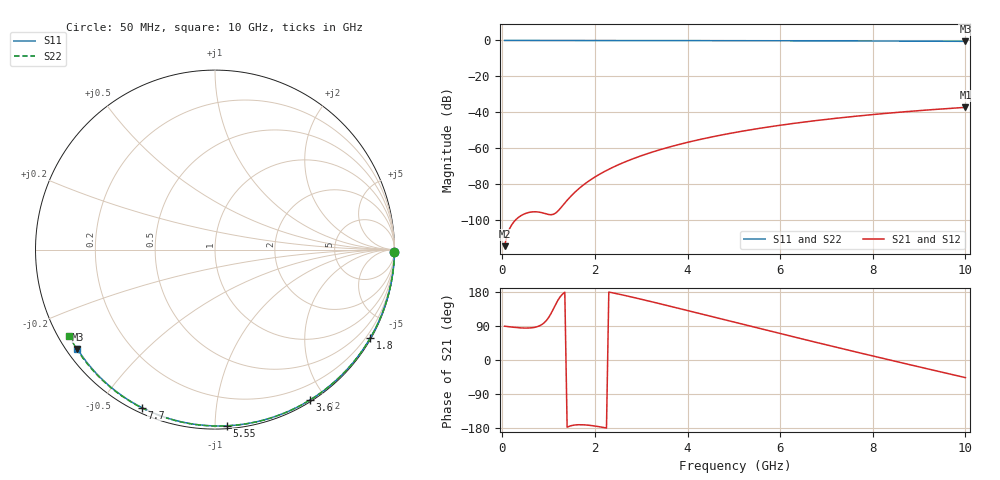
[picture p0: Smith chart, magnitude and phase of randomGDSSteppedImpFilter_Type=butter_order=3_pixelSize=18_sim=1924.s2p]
! freq	dB(S11)	phase(S11)	dB(S12)	phase(S12)
!  dB(S21)	phase(S21)	dB(S22)	phase(S22)
!S-par simulation data
#  GHz  S  DB  R 50
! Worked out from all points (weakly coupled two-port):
!   200 points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, 50 MHz to 10 GHz, reference 50 ohm
!   highest |S21| = -37.38 dB at 10 GHz (marker M1); lowest = -114.9 dB at 50 MHz (marker M2)
!   lowest |S11| = -0.5 dB at 10 GHz (marker M3), VSWR 35.56, Z = 1.55 - j16.1 ohm
!   |S11| at or under -10 dB: nowhere
!   |S22| runs from -0.5 to 0.0 dB; largest |S21 - S12| = 0
!   S11 on the Smith chart (normalised r, x): 50 MHz: open; 1.8 GHz: 0.03, -3.78; 3.6 GHz: 0.02, -1.81; 5.55 GHz: 0.02, -1.07; 7.7 GHz: 0.02, -0.64; 10 GHz: 0.03, -0.32
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0.05  -0.00 -0.8  -114.90 89.2  -114.90 89.2  -0.00 -0.9
0.45  -0.01 -7.5  -97.20 84.4  -97.20 84.4  -0.01 -7.8
0.9  -0.02 -15.0  -96.50 97.7  -96.50 97.7  -0.02 -15.5
1.3  -0.03 -21.5  -92.34 173.7  -92.34 173.7  -0.03 -22.3
1.75  -0.04 -28.8  -80.73 -171.0  -80.73 -171.0  -0.04 -29.9
1.8  -0.04 -29.7  -79.75 -171.4  -79.75 -171.4  -0.04 -30.7
1.95  -0.04 -32.1  -77.08 -173.4  -77.08 -173.4  -0.04 -33.2
2.1  -0.04 -34.5  -74.73 -176.2  -74.73 -176.2  -0.05 -35.7
2.3  -0.05 -37.7  -71.95 179.3  -71.95 179.3  -0.05 -39.0
2.5  -0.05 -40.8  -69.50 174.2  -69.50 174.2  -0.05 -42.3
2.9  -0.06 -47.1  -65.32 163.2  -65.32 163.2  -0.06 -48.8
3.4  -0.07 -54.8  -61.06 148.6  -61.06 148.6  -0.08 -56.8
3.6  -0.08 -57.8  -59.58 142.6  -59.58 142.6  -0.08 -59.9
4.3  -0.10 -68.3  -55.12 121.4  -55.12 121.4  -0.10 -70.7
5.05  -0.12 -79.1  -51.27 98.5  -51.27 98.5  -0.13 -81.9
5.55  -0.14 -86.1  -49.10 83.4  -49.10 83.4  -0.15 -89.1
6.1  -0.17 -93.7  -47.00 66.8  -47.00 66.8  -0.17 -97.0
6.7  -0.20 -101.8  -44.98 48.8  -44.98 48.8  -0.20 -105.3
7.7  -0.26 -114.9  -42.14 19.4  -42.14 19.4  -0.27 -118.9
8.35  -0.32 -123.2  -40.57 0.5  -40.57 0.5  -0.33 -127.6
9.2  -0.40 -134.0  -38.80 -23.8  -38.80 -23.8  -0.41 -138.8
10  -0.49 -144.2  -37.38 -46.5  -37.38 -46.5  -0.50 -149.5
